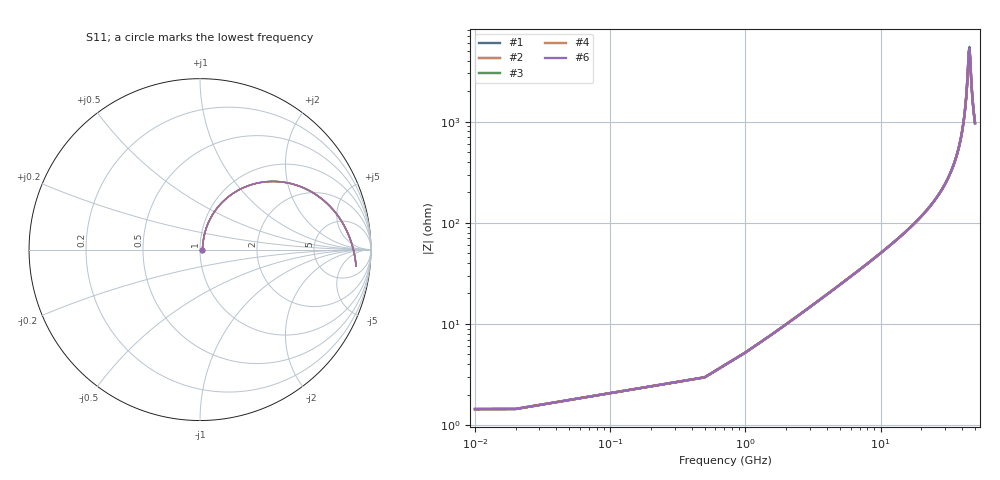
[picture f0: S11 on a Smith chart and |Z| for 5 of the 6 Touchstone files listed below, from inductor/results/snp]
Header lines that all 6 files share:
! Created with skrf 2.2.0 (http://scikit-rf.org).
# GHz S DB R 50.0
! Port[1] = P1
! Port[2] = P2
!freq dBS11 angS11 dBS21 angS21 dBS12 angS12 dBS22 angS22
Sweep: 10 MHz to 50 GHz
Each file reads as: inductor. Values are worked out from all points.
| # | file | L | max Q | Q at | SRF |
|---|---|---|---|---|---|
| 1 | ind_frame_margin20.s2p | 777 pH | 19.4 | 17 GHz | 45 GHz |
| 2 | ind_frame_margin20_palace0181.s2p | 777 pH | 18.5 | 16 GHz | 45 GHz |
| 3 | ind_frame_margin50.s2p | 779 pH | 19 | 16.5 GHz | 45 GHz |
| 4 | ind_frame_margin50_palace0181.s2p | 779 pH | 18.8 | 16.5 GHz | 45 GHz |
| 5 | ind_frame_margin100.s2p | 779 pH | 19 | 16.5 GHz | 45 GHz |
| 6 | ind_frame_margin100_palace0181.s2p | 779 pH | 18.9 | 16.5 GHz | 45 GHz |
